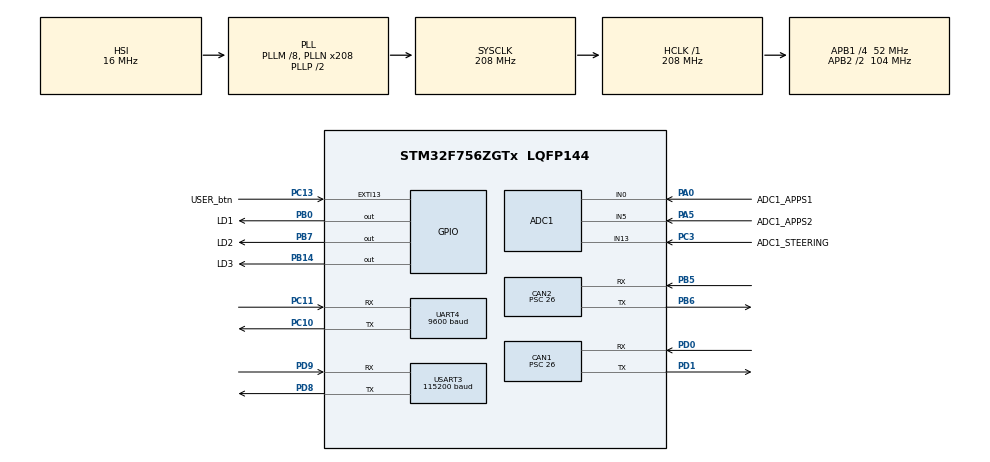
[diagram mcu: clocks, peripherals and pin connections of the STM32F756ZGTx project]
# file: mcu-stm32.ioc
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ADC1.Channel-10\#ChannelRegularConversion=ADC_CHANNEL_5
ADC1.Channel-11\#ChannelRegularConversion=ADC_CHANNEL_13
ADC1.Channel-9\#ChannelRegularConversion=ADC_CHANNEL_0
ADC1.ClockPrescaler=ADC_CLOCK_SYNC_PCLK_DIV8
ADC1.ContinuousConvMode=ENABLE
ADC1.DMAContinuousRequests=ENABLE
ADC1.EOCSelection=ADC_EOC_SINGLE_CONV
ADC1.NbrOfConversion=3
ADC1.NbrOfConversionFlag=1
ADC1.Rank-10\#ChannelRegularConversion=2
ADC1.Rank-11\#ChannelRegularConversion=3
ADC1.Rank-9\#ChannelRegularConversion=1
ADC1.SamplingTime-10\#ChannelRegularConversion=ADC_SAMPLETIME_480CYCLES
ADC1.SamplingTime-11\#ChannelRegularConversion=ADC_SAMPLETIME_480CYCLES
ADC1.SamplingTime-9\#ChannelRegularConversion=ADC_SAMPLETIME_480CYCLES
ADC1.ScanConvMode=ADC_SCAN_ENABLE
ADC1.master=1
CAN1.ABOM=ENABLE
CAN1.BS1=CAN_BS1_2TQ
CAN1.CalculateBaudRate=500000
CAN1.CalculateTimeBit=2000
CAN1.CalculateTimeQuantum=500.0
CAN1.NART=ENABLE
CAN1.Prescaler=26
CAN1.SJW=CAN_SJW_4TQ
CAN1.TXFP=ENABLE
CAN2.ABOM=ENABLE
CAN2.BS1=CAN_BS1_2TQ
CAN2.CalculateBaudRate=500000
CAN2.CalculateTimeBit=2000
CAN2.CalculateTimeQuantum=500.0
CAN2.NART=DISABLE
CAN2.Prescaler=26
CAN2.SJW=CAN_SJW_2TQ
CAN2.TXFP=ENABLE
Dma.ADC1.0.Direction=DMA_PERIPH_TO_MEMORY
Dma.ADC1.0.FIFOMode=DMA_FIFOMODE_DISABLE
Dma.ADC1.0.Instance=DMA2_Stream0
Dma.ADC1.0.MemDataAlignment=DMA_MDATAALIGN_HALFWORD
Dma.ADC1.0.MemInc=DMA_MINC_ENABLE
Dma.ADC1.0.Mode=DMA_CIRCULAR
Dma.ADC1.0.PeriphDataAlignment=DMA_PDATAALIGN_HALFWORD
Dma.ADC1.0.PeriphInc=DMA_PINC_DISABLE
Dma.ADC1.0.Priority=DMA_PRIORITY_HIGH
Dma.Request0=ADC1
Dma.Request1=USART3_TX
Dma.Request2=UART4_TX
Dma.UART4_TX.2.Direction=DMA_MEMORY_TO_PERIPH
Dma.UART4_TX.2.FIFOMode=DMA_FIFOMODE_DISABLE
Dma.UART4_TX.2.Instance=DMA1_Stream4
Dma.UART4_TX.2.MemDataAlignment=DMA_MDATAALIGN_BYTE
Dma.UART4_TX.2.MemInc=DMA_MINC_ENABLE
Dma.UART4_TX.2.Mode=DMA_NORMAL
Dma.UART4_TX.2.PeriphDataAlignment=DMA_PDATAALIGN_BYTE
Dma.UART4_TX.2.PeriphInc=DMA_PINC_DISABLE
Dma.UART4_TX.2.Priority=DMA_PRIORITY_LOW
Dma.USART3_TX.1.Direction=DMA_MEMORY_TO_PERIPH
Dma.USART3_TX.1.FIFOMode=DMA_FIFOMODE_DISABLE
Dma.USART3_TX.1.Instance=DMA1_Stream3
Dma.USART3_TX.1.MemDataAlignment=DMA_MDATAALIGN_BYTE
Dma.USART3_TX.1.MemInc=DMA_MINC_ENABLE
Dma.USART3_TX.1.Mode=DMA_NORMAL
Dma.USART3_TX.1.PeriphDataAlignment=DMA_PDATAALIGN_BYTE
Dma.USART3_TX.1.PeriphInc=DMA_PINC_DISABLE
Dma.USART3_TX.1.Priority=DMA_PRIORITY_LOW
FREERTOS.INCLUDE_uxTaskGetStackHighWaterMark2=1
FREERTOS.INCLUDE_xTaskGetCurrentTaskHandle=1
FREERTOS.Mutexes01=mutex_APPS,Dynamic,NULL,Available;mutex_SAS,Dynamic,NULL,Available;mutex_INVERTER_L,Dynamic,NULL,Available;mutex_INVERTER_R,Dynamic,NULL,Available;mutex_CAN1,Dynamic,NULL,Available;mutex_UART3,Dynamic,NULL,Available;mutex_CAN2,Dynamic,NULL,Available;mutex_UART4,Dynamic,NULL,Available
FREERTOS.Tasks01=DataLogger,8,1024,StartDataLogger,Default,NULL,Dynamic,NULL,NULL;MotorsManager,32,2048,StartMotorsManager,Default,NULL,Dynamic,NULL,NULL;DataManager,40,512,StartDataManager,Default,NULL,Dynamic,NULL,NULL
FREERTOS.configCHECK_FOR_STACK_OVERFLOW=2
FREERTOS.configENABLE_FPU=1
FREERTOS.configMINIMAL_STACK_SIZE=128
FREERTOS.configTIMER_TASK_PRIORITY=5
FREERTOS.configTOTAL_HEAP_SIZE=49152
FREERTOS.configUSE_MALLOC_FAILED_HOOK=1
FREERTOS.configUSE_NEWLIB_REENTRANT=1
IWDG.Prescaler=IWDG_PRESCALER_256
Mcu.Family=STM32F7
Mcu.Name=STM32F756ZGTx
Mcu.Package=LQFP144
NVIC.ADC_IRQn=true\:6\:0\:true\:false\:true\:true\:true\:true\:true
NVIC.CAN1_RX0_IRQn=true\:5\:0\:false\:false\:true\:true\:true\:true\:true
NVIC.CAN1_SCE_IRQn=true\:5\:0\:false\:false\:true\:true\:true\:true\:true
NVIC.CAN2_RX1_IRQn=true\:5\:0\:false\:false\:true\:true\:true\:true\:true
NVIC.DMA1_Stream3_IRQn=true\:5\:0\:false\:false\:true\:true\:false\:true\:true
NVIC.DMA1_Stream4_IRQn=true\:5\:0\:false\:false\:true\:true\:false\:true\:true
NVIC.DMA2_Stream0_IRQn=true\:5\:0\:false\:false\:true\:true\:false\:true\:true
NVIC.EXTI15_10_IRQn=true\:5\:0\:false\:false\:true\:true\:true\:true\:true
NVIC.PriorityGroup=NVIC_PRIORITYGROUP_4
NVIC.TIM7_IRQn=true\:15\:0\:false\:false\:true\:false\:false\:true\:true
NVIC.TimeBase=TIM7_IRQn
NVIC.TimeBaseIP=TIM7
NVIC.UART4_IRQn=true\:5\:0\:false\:false\:true\:true\:true\:true\:true
NVIC.USART3_IRQn=true\:10\:0\:true\:false\:true\:true\:true\:true\:true
PA0/WKUP.GPIO_Label=ADC1_APPS1
PA0/WKUP.Signal=ADCx_IN0
PA13.Mode=Serial_Wire
PA13.Signal=SYS_JTMS-SWDIO
PA14.Mode=Serial_Wire
PA14.Signal=SYS_JTCK-SWCLK
PA5.GPIO_Label=ADC1_APPS2
PA5.Signal=ADCx_IN5
PB0.GPIO_Label=LD1
PB0.Signal=GPIO_Output
PB14.GPIO_Label=LD3
PB14.Signal=GPIO_Output
PB5.Mode=CAN_Activate
PB5.Signal=CAN2_RX
PB6.Mode=CAN_Activate
PB6.Signal=CAN2_TX
PB7.GPIO_Label=LD2
PB7.Signal=GPIO_Output
PC10.Mode=Asynchronous
PC10.Signal=UART4_TX
PC11.Mode=Asynchronous
PC11.Signal=UART4_RX
PC13.GPIO_Label=USER_btn
PC13.Signal=GPXTI13
PC3.GPIO_Label=ADC1_STEERING
PC3.Signal=ADCx_IN13
PD0.Mode=CAN_Activate
PD0.Signal=CAN1_RX
PD1.Mode=CAN_Activate
PD1.Signal=CAN1_TX
PD8.Mode=Asynchronous
PD8.Signal=USART3_TX
PD9.Mode=Asynchronous
PD9.Signal=USART3_RX
ProjectManager.HeapSize=0x200
ProjectManager.StackSize=0x400
ProjectManager.TargetToolchain=STM32CubeIDE
RCC.48MHZClocksFreq_Value=24000000
RCC.AHBFreq_Value=208000000
RCC.APB1CLKDivider=RCC_HCLK_DIV4
RCC.APB1Freq_Value=52000000
RCC.APB1TimFreq_Value=104000000
RCC.APB2CLKDivider=RCC_HCLK_DIV2
RCC.APB2Freq_Value=104000000
RCC.APB2TimFreq_Value=208000000
RCC.CortexFreq_Value=208000000
RCC.HCLKFreq_Value=208000000
RCC.HSE_VALUE=8000000
RCC.HSI_VALUE=16000000
RCC.LSE_VALUE=32768
RCC.PLLM=8
RCC.PLLMUL=RCC_PLL_MUL9
RCC.PLLN=208
RCC.PLLQ=3
RCC.PRESCALERUSB=RCC_USBCLKSOURCE_PLL_DIV1_5
RCC.SYSCLKFreq_VALUE=208000000
RCC.SYSCLKSource=RCC_SYSCLKSOURCE_PLLCLK
RCC.SYSCLKSourceVirtual=RCC_SYSCLKSOURCE_PLLCLK
RCC.UART5CLockSelection=RCC_UART5CLKSOURCE_SYSCLK
RCC.USART6CLockSelection=RCC_USART6CLKSOURCE_SYSCLK
RCC.USBFreq_Value=138666666.66666666
RCC.VCOOutputFreq_Value=416000000
SH.ADCx_IN0.0=ADC1_IN0,IN0
SH.ADCx_IN13.0=ADC1_IN13,IN13
SH.ADCx_IN5.0=ADC1_IN5,IN5
UART4.BaudRate=9600
USART3.BaudRate=115200
USART3.VirtualMode-Asynchronous=VM_ASYNC
VP_FREERTOS_VS_CMSIS_V2.Mode=CMSIS_V2
VP_IWDG_VS_IWDG.Mode=IWDG_Activate
VP_SYS_VS_tim7.Mode=TIM7
board=NUCLEO-F756ZG

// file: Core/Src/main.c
/* USER CODE BEGIN Header */
/**
  ******************************************************************************
  * @file           : main.c
  * @brief          : Main program body
  ******************************************************************************
  * @attention
  *
  * Copyright (c) 2025 STMicroelectronics.
  * All rights reserved.
  *
  * This software is licensed under terms that can be found in the LICENSE file
  * in the root directory of this software component.
  * If no LICENSE file comes with this software, it is provided AS-IS.
  *
  ******************************************************************************
  */
/* USER CODE END Header */
#include "main.h"
#include "cmsis_os.h"

/* USER CODE BEGIN Includes */
#include "Config.h"
#include "Safety/watchdog.h"
#include "FreeRTOS.h"
#include "Can.h"
#include "Serial.h"
#include "Drive/Inverter.h"
#include "Sensors/ADC_Manager.h"
#include "Tasks/data_logger.h"
#include "Tasks/motors_manager.h"
#include "Tasks/data_manager.h"
#include "Safety/device_state.h"
#include "task.h"
/* USER CODE END Includes */

ADC_HandleTypeDef hadc1;
DMA_HandleTypeDef hdma_adc1;

CAN_HandleTypeDef hcan1;
CAN_HandleTypeDef hcan2;

IWDG_HandleTypeDef hiwdg;

UART_HandleTypeDef huart4;
UART_HandleTypeDef huart3;
DMA_HandleTypeDef hdma_uart4_tx;
DMA_HandleTypeDef hdma_usart3_tx;

/* Definitions for DataLogger */
osThreadId_t DataLoggerHandle;
const osThreadAttr_t DataLogger_attributes = {
  .name = "DataLogger",
  .stack_size = 1024 * 4,
  .priority = (osPriority_t) osPriorityLow,
};
/* Definitions for MotorsManager */
osThreadId_t MotorsManagerHandle;
const osThreadAttr_t MotorsManager_attributes = {
  .name = "MotorsManager",
  .stack_size = 2048 * 4,
  .priority = (osPriority_t) osPriorityAboveNormal,
};
/* Definitions for DataManager */
osThreadId_t DataManagerHandle;
const osThreadAttr_t DataManager_attributes = {
  .name = "DataManager",
  .stack_size = 512 * 4,
  .priority = (osPriority_t) osPriorityHigh,
};
/* Definitions for mutex_APPS */
osMutexId_t mutex_APPSHandle;
const osMutexAttr_t mutex_APPS_attributes = {
  .name = "mutex_APPS"
};
/* Definitions for mutex_SAS */
osMutexId_t mutex_SASHandle;
const osMutexAttr_t mutex_SAS_attributes = {
  .name = "mutex_SAS"
};
/* Definitions for mutex_INVERTER_L */
osMutexId_t mutex_INVERTER_LHandle;
const osMutexAttr_t mutex_INVERTER_L_attributes = {
  .name = "mutex_INVERTER_L"
};
/* Definitions for mutex_INVERTER_R */
osMutexId_t mutex_INVERTER_RHandle;
const osMutexAttr_t mutex_INVERTER_R_attributes = {
  .name = "mutex_INVERTER_R"
};
/* Definitions for mutex_CAN1 */
osMutexId_t mutex_CAN1Handle;
const osMutexAttr_t mutex_CAN1_attributes = {
  .name = "mutex_CAN1"
};
/* Definitions for mutex_UART3 */
osMutexId_t mutex_UART3Handle;
const osMutexAttr_t mutex_UART3_attributes = {
  .name = "mutex_UART3"
};
/* Definitions for mutex_CAN2 */
osMutexId_t mutex_CAN2Handle;
const osMutexAttr_t mutex_CAN2_attributes = {
  .name = "mutex_CAN2"
};
/* Definitions for mutex_UART4 */
osMutexId_t mutex_UART4Handle;
const osMutexAttr_t mutex_UART4_attributes = {
  .name = "mutex_UART4"
};

void SystemClock_Config(void);
static void MX_GPIO_Init(void);
static void MX_DMA_Init(void);
static void MX_CAN1_Init(void);
static void MX_ADC1_Init(void);
static void MX_USART3_UART_Init(void);
static void MX_CAN2_Init(void);
static void MX_IWDG_Init(void);
static void MX_UART4_Init(void);
void StartDataLogger(void *argument);
void StartMotorsManager(void *argument);
void StartDataManager(void *argument);

/* USER CODE BEGIN PFP */
void MX_FREERTOS_Init(void);

/* USER CODE END PFP */

int main(void)
{

  /* MCU Configuration--------------------------------------------------------*/

  /* Reset of all peripherals, Initializes the Flash interface and the Systick. */
  HAL_Init();

  /* Configure the system clock */
  SystemClock_Config();

  /* Initialize all configured peripherals */
  MX_GPIO_Init();
  MX_DMA_Init();
  MX_CAN1_Init();
  MX_ADC1_Init();
  MX_USART3_UART_Init();
  MX_CAN2_Init();
  MX_IWDG_Init();
  MX_UART4_Init();
  /* USER CODE BEGIN 2 */

  DeviceState_Set(DEVICE_STATE_INIT);

  /* Freeze Independent Watchdog (IWDG) while debugging:
   * When the debugger halts the CPU, the IWDG would normally continue
   * counting and eventually reset the MCU. Calling this macro freezes
   * the IWDG counter while the core is halted by the debugger. It has
   * no effect when no debugger is connected.
   */
  __HAL_DBGMCU_FREEZE_IWDG();

  /* Ensure the IWDG counter is refreshed immediately after initialization
   * to give the rest of the system time to complete startup without
   * triggering an unwanted reset. This is a one-time refresh; periodic
   * refreshes are handled by the safety monitor task.
   */
  Watchdog_Refresh();

  Inverters_Init();
  DataReadings_Init();
  Watchdog_Refresh();
  //SchedulerInitFct();
  /* USER CODE END 2 */

  /* Init scheduler */
  osKernelInitialize();
  /* Create the mutex(es) */
  /* creation of mutex_APPS */
  mutex_APPSHandle = osMutexNew(&mutex_APPS_attributes);

  /* creation of mutex_SAS */
  mutex_SASHandle = osMutexNew(&mutex_SAS_attributes);

  /* creation of mutex_INVERTER_L */
  mutex_INVERTER_LHandle = osMutexNew(&mutex_INVERTER_L_attributes);

  /* creation of mutex_INVERTER_R */
  mutex_INVERTER_RHandle = osMutexNew(&mutex_INVERTER_R_attributes);

  /* creation of mutex_CAN1 */
  mutex_CAN1Handle = osMutexNew(&mutex_CAN1_attributes);

  /* creation of mutex_UART3 */
  mutex_UART3Handle = osMutexNew(&mutex_UART3_attributes);

  /* creation of mutex_CAN2 */
  mutex_CAN2Handle = osMutexNew(&mutex_CAN2_attributes);

  /* creation of mutex_UART4 */
  mutex_UART4Handle = osMutexNew(&mutex_UART4_attributes);

  /* USER CODE BEGIN RTOS_QUEUES */
  /* CAN RX queues must be created after osKernelInitialize() and before CAN IRQ notifications. */
  CAN_ProcessQueue_Init();      /* CAN1 RX queue */
  CAN_Car_ProcessQueue_Init();  /* CAN2 RX queue */

  if (!CAN_QueuesReady())
  {
    Error_Handler();
  }

  /* Defer CAN peripheral start to task context (after osKernelStart). */
  /* USER CODE END RTOS_QUEUES */

  /* Create the thread(s) */
  /* creation of DataLogger */
  DataLoggerHandle = osThreadNew(StartDataLogger, NULL, &DataLogger_attributes);

  /* creation of MotorsManager */
  MotorsManagerHandle = osThreadNew(StartMotorsManager, NULL, &MotorsManager_attributes);

  /* creation of DataManager */
  DataManagerHandle = osThreadNew(StartDataManager, NULL, &DataManager_attributes);

  /* Start scheduler */
  osKernelStart();

  /* We should never get here as control is now taken by the scheduler */

  /* Infinite loop */
  /* USER CODE BEGIN WHILE */
  while (1)
  {
	  //SchedulerMgmFct();
    /* USER CODE END WHILE */

  }
}

void SystemClock_Config(void)
{
  RCC_OscInitTypeDef RCC_OscInitStruct = {0};
  RCC_ClkInitTypeDef RCC_ClkInitStruct = {0};

  /** Configure the main internal regulator output voltage
  */
  __HAL_RCC_PWR_CLK_ENABLE();
  __HAL_PWR_VOLTAGESCALING_CONFIG(PWR_REGULATOR_VOLTAGE_SCALE1);

  /** Initializes the RCC Oscillators according to the specified parameters
  * in the RCC_OscInitTypeDef structure.
  */
  RCC_OscInitStruct.OscillatorType = RCC_OSCILLATORTYPE_HSI|RCC_OSCILLATORTYPE_LSI;
  RCC_OscInitStruct.HSIState = RCC_HSI_ON;
  RCC_OscInitStruct.HSICalibrationValue = RCC_HSICALIBRATION_DEFAULT;
  RCC_OscInitStruct.LSIState = RCC_LSI_ON;
  RCC_OscInitStruct.PLL.PLLState = RCC_PLL_ON;
  RCC_OscInitStruct.PLL.PLLSource = RCC_PLLSOURCE_HSI;
  RCC_OscInitStruct.PLL.PLLM = 8;
  RCC_OscInitStruct.PLL.PLLN = 208;
  RCC_OscInitStruct.PLL.PLLP = RCC_PLLP_DIV2;
  RCC_OscInitStruct.PLL.PLLQ = 3;
  if (HAL_RCC_OscConfig(&RCC_OscInitStruct) != HAL_OK)
  {
    Error_Handler();
  }

  /** Activate the Over-Drive mode
  */
  if (HAL_PWREx_EnableOverDrive() != HAL_OK)
  {
    Error_Handler();
  }

  /** Initializes the CPU, AHB and APB buses clocks
  */
  RCC_ClkInitStruct.ClockType = RCC_CLOCKTYPE_HCLK|RCC_CLOCKTYPE_SYSCLK
                              |RCC_CLOCKTYPE_PCLK1|RCC_CLOCKTYPE_PCLK2;
  RCC_ClkInitStruct.SYSCLKSource = RCC_SYSCLKSOURCE_PLLCLK;
  RCC_ClkInitStruct.AHBCLKDivider = RCC_SYSCLK_DIV1;
  RCC_ClkInitStruct.APB1CLKDivider = RCC_HCLK_DIV4;
  RCC_ClkInitStruct.APB2CLKDivider = RCC_HCLK_DIV2;

  if (HAL_RCC_ClockConfig(&RCC_ClkInitStruct, FLASH_LATENCY_6) != HAL_OK)
  {
    Error_Handler();
  }
}

static void MX_ADC1_Init(void)
{

  ADC_ChannelConfTypeDef sConfig = {0};

  /* USER CODE BEGIN ADC1_Init 1 */
  /* Override ADC configuration based on Config.h build mode */
  /* This section is protected from CubeMX regeneration */

  /* USER CODE END ADC1_Init 1 */

  /** Configure the global features of the ADC (Clock, Resolution, Data Alignment and number of conversion)
  */
  hadc1.Instance = ADC1;
  hadc1.Init.ClockPrescaler = ADC_CLOCK_SYNC_PCLK_DIV8;
  hadc1.Init.Resolution = ADC_RESOLUTION_12B;
  hadc1.Init.ScanConvMode = ADC_SCAN_ENABLE;
  hadc1.Init.ContinuousConvMode = ENABLE;
  hadc1.Init.DiscontinuousConvMode = DISABLE;
  hadc1.Init.ExternalTrigConvEdge = ADC_EXTERNALTRIGCONVEDGE_NONE;
  hadc1.Init.ExternalTrigConv = ADC_SOFTWARE_START;
  hadc1.Init.DataAlign = ADC_DATAALIGN_RIGHT;
  hadc1.Init.NbrOfConversion = 3;
  hadc1.Init.DMAContinuousRequests = ENABLE;
  hadc1.Init.EOCSelection = ADC_EOC_SINGLE_CONV;
  if (HAL_ADC_Init(&hadc1) != HAL_OK)
  {
    Error_Handler();
  }

  /** Configure for the selected ADC regular channel its corresponding rank in the sequencer and its sample time.
  */
  sConfig.Channel = ADC_CHANNEL_0;
  sConfig.Rank = ADC_REGULAR_RANK_1;
  sConfig.SamplingTime = ADC_SAMPLETIME_480CYCLES;
  if (HAL_ADC_ConfigChannel(&hadc1, &sConfig) != HAL_OK)
  {
    Error_Handler();
  }

  /** Configure for the selected ADC regular channel its corresponding rank in the sequencer and its sample time.
  */
  sConfig.Channel = ADC_CHANNEL_5;
  sConfig.Rank = ADC_REGULAR_RANK_2;
  if (HAL_ADC_ConfigChannel(&hadc1, &sConfig) != HAL_OK)
  {
    Error_Handler();
  }

  /** Configure for the selected ADC regular channel its corresponding rank in the sequencer and its sample time.
  */
  sConfig.Channel = ADC_CHANNEL_13;
  sConfig.Rank = ADC_REGULAR_RANK_3;
  if (HAL_ADC_ConfigChannel(&hadc1, &sConfig) != HAL_OK)
  {
    Error_Handler();
  }
  /* USER CODE BEGIN ADC1_Init 2 */
  /* Override ADC configuration for different build modes */
  /* This part of code is protected from CubeMX regeneration */

  #if defined(TEST_MODE_SINGLE_ADC)
    hadc1.Init.ScanConvMode = ADC_SCAN_DISABLE;
    hadc1.Init.NbrOfConversion = 1;
    if (HAL_ADC_Init(&hadc1) != HAL_OK) {
      Error_Handler();
    }

    /* Reconfigure only CH0 */
    ADC_ChannelConfTypeDef sConfig_override = {0};
    sConfig_override.Channel = ADC_CHANNEL_0;
    sConfig_override.Rank = ADC_REGULAR_RANK_1;
    sConfig_override.SamplingTime = ADC_SAMPLETIME_480CYCLES;
    if (HAL_ADC_ConfigChannel(&hadc1, &sConfig_override) != HAL_OK) {
      Error_Handler();
    }
  #endif
  /* In TEST_MODE_FULL and PRODUCTION_MODE, use CubeMX configuration (3 channels) */

  /* USER CODE END ADC1_Init 2 */

}

static void MX_CAN1_Init(void)
{

  /* USER CODE BEGIN CAN1_Init 1 */
  /* Override CAN1 configuration based on Config.h */
  /* This section is protected from CubeMX regeneration */

  /* USER CODE END CAN1_Init 1 */
  hcan1.Instance = CAN1;
  hcan1.Init.Prescaler = 26;
  hcan1.Init.Mode = CAN_MODE_NORMAL;
  hcan1.Init.SyncJumpWidth = CAN_SJW_4TQ;
  hcan1.Init.TimeSeg1 = CAN_BS1_2TQ;
  hcan1.Init.TimeSeg2 = CAN_BS2_1TQ;
  hcan1.Init.TimeTriggeredMode = DISABLE;
  hcan1.Init.AutoBusOff = ENABLE;
  hcan1.Init.AutoWakeUp = DISABLE;
  hcan1.Init.AutoRetransmission = ENABLE;
  hcan1.Init.ReceiveFifoLocked = DISABLE;
  hcan1.Init.TransmitFifoPriority = ENABLE;
  if (HAL_CAN_Init(&hcan1) != HAL_OK)
  {
    Error_Handler();
  }

}

static void MX_CAN2_Init(void)
{

  /* USER CODE BEGIN CAN2_Init 1 */
  /* Override CAN2 configuration based on Config.h */
  /* This section is protected from CubeMX regeneration */

  /* USER CODE END CAN2_Init 1 */
  hcan2.Instance = CAN2;
  hcan2.Init.Prescaler = 26;
  hcan2.Init.Mode = CAN_MODE_NORMAL;
  hcan2.Init.SyncJumpWidth = CAN_SJW_2TQ;
  hcan2.Init.TimeSeg1 = CAN_BS1_2TQ;
  hcan2.Init.TimeSeg2 = CAN_BS2_1TQ;
  hcan2.Init.TimeTriggeredMode = DISABLE;
  hcan2.Init.AutoBusOff = ENABLE;
  hcan2.Init.AutoWakeUp = DISABLE;
  hcan2.Init.AutoRetransmission = DISABLE;
  hcan2.Init.ReceiveFifoLocked = DISABLE;
  hcan2.Init.TransmitFifoPriority = ENABLE;
  if (HAL_CAN_Init(&hcan2) != HAL_OK)
  {
    Error_Handler();
  }
  /* USER CODE BEGIN CAN2_Init 2 */
  /* CAN2 configuration from CubeMX is correct (AutoRetransmission = DISABLE) */
  /* This matches CAN2_AUTO_RETRANSMISSION in Config.h */
  /* No override needed - CubeMX config already correct */

  /* USER CODE END CAN2_Init 2 */

}

static void MX_IWDG_Init(void)
{

  hiwdg.Instance = IWDG;
  hiwdg.Init.Prescaler = IWDG_PRESCALER_256;
  hiwdg.Init.Window = 4095;
  hiwdg.Init.Reload = 4095;
  if (HAL_IWDG_Init(&hiwdg) != HAL_OK)
  {
    Error_Handler();
  }

}

static void MX_UART4_Init(void)
{

  huart4.Instance = UART4;
  huart4.Init.BaudRate = 115200;
  huart4.Init.WordLength = UART_WORDLENGTH_8B;
  huart4.Init.StopBits = UART_STOPBITS_1;
  huart4.Init.Parity = UART_PARITY_NONE;
  huart4.Init.Mode = UART_MODE_TX_RX;
  huart4.Init.HwFlowCtl = UART_HWCONTROL_NONE;
  huart4.Init.OverSampling = UART_OVERSAMPLING_16;
  huart4.Init.OneBitSampling = UART_ONE_BIT_SAMPLE_DISABLE;
  huart4.AdvancedInit.AdvFeatureInit = UART_ADVFEATURE_NO_INIT;
  if (HAL_UART_Init(&huart4) != HAL_OK)
  {
    Error_Handler();
  }

}

static void MX_USART3_UART_Init(void)
{

  huart3.Instance = USART3;
  huart3.Init.BaudRate = 115200;
  huart3.Init.WordLength = UART_WORDLENGTH_8B;
  huart3.Init.StopBits = UART_STOPBITS_1;
  huart3.Init.Parity = UART_PARITY_NONE;
  huart3.Init.Mode = UART_MODE_TX_RX;
  huart3.Init.HwFlowCtl = UART_HWCONTROL_NONE;
  huart3.Init.OverSampling = UART_OVERSAMPLING_16;
  huart3.Init.OneBitSampling = UART_ONE_BIT_SAMPLE_DISABLE;
  huart3.AdvancedInit.AdvFeatureInit = UART_ADVFEATURE_NO_INIT;
  if (HAL_UART_Init(&huart3) != HAL_OK)
  {
    Error_Handler();
  }

}

static void MX_DMA_Init(void)
{

  /* DMA controller clock enable */
  __HAL_RCC_DMA2_CLK_ENABLE();
  __HAL_RCC_DMA1_CLK_ENABLE();

  /* DMA interrupt init */
  /* DMA1_Stream3_IRQn interrupt configuration */
  HAL_NVIC_SetPriority(DMA1_Stream3_IRQn, 5, 0);
  HAL_NVIC_EnableIRQ(DMA1_Stream3_IRQn);
  /* DMA1_Stream4_IRQn interrupt configuration */
  HAL_NVIC_SetPriority(DMA1_Stream4_IRQn, 5, 0);
  HAL_NVIC_EnableIRQ(DMA1_Stream4_IRQn);
  /* DMA2_Stream0_IRQn interrupt configuration */
  HAL_NVIC_SetPriority(DMA2_Stream0_IRQn, 5, 0);
  HAL_NVIC_EnableIRQ(DMA2_Stream0_IRQn);

}

static void MX_GPIO_Init(void)
{
  GPIO_InitTypeDef GPIO_InitStruct = {0};

  /* GPIO Ports Clock Enable */
  __HAL_RCC_GPIOC_CLK_ENABLE();
  __HAL_RCC_GPIOA_CLK_ENABLE();
  __HAL_RCC_GPIOB_CLK_ENABLE();
  __HAL_RCC_GPIOD_CLK_ENABLE();

  /*Configure GPIO pin Output Level */
  HAL_GPIO_WritePin(GPIOB, LD1_Pin|LD3_Pin|LD2_Pin, GPIO_PIN_RESET);

  /*Configure GPIO pin : USER_btn_Pin */
  GPIO_InitStruct.Pin = USER_btn_Pin;
  GPIO_InitStruct.Mode = GPIO_MODE_IT_RISING;
  GPIO_InitStruct.Pull = GPIO_NOPULL;
  HAL_GPIO_Init(USER_btn_GPIO_Port, &GPIO_InitStruct);

  /*Configure GPIO pins : LD1_Pin LD3_Pin LD2_Pin */
  GPIO_InitStruct.Pin = LD1_Pin|LD3_Pin|LD2_Pin;
  GPIO_InitStruct.Mode = GPIO_MODE_OUTPUT_PP;
  GPIO_InitStruct.Pull = GPIO_NOPULL;
  GPIO_InitStruct.Speed = GPIO_SPEED_FREQ_LOW;
  HAL_GPIO_Init(GPIOB, &GPIO_InitStruct);

  /* EXTI interrupt init*/
  HAL_NVIC_SetPriority(EXTI15_10_IRQn, 5, 0);
  HAL_NVIC_EnableIRQ(EXTI15_10_IRQn);

}

/* USER CODE BEGIN 4 */
/**
 * @brief CAN Interrupt - Message reception
 * @param hcan CAN handle that generated interrupt
 * @return void
 */
void HAL_CAN_RxFifo0MsgPendingCallback(CAN_HandleTypeDef *hcan){
    // CAN1 only - Motor inverters
    if (hcan->Instance == CAN1) {
        CAN_Inverter_ProcessRxMessages(hcan);
    }
}

void HAL_CAN_RxFifo1MsgPendingCallback(CAN_HandleTypeDef *hcan){
    // CAN2 only - Car data (IMU, BMS, ECU, DASH)
    if (hcan->Instance == CAN2) {
        CAN_Car_ProcessRxMessages(hcan);
    }
}

void HAL_ADC_ConvHalfCpltCallback(ADC_HandleTypeDef *hadc){

}

void HAL_ADC_ConvCpltCallback(ADC_HandleTypeDef *hadc){
    ADC_Manager_ConversionComplete(hadc);
}

void HAL_UART_TxCpltCallback(UART_HandleTypeDef *huart)
{
    if (huart == &huart4)
    {
        extern volatile uint8_t uart4_tx_busy;
        uart4_tx_busy = 0;
    }
    if (huart == &huart3)
    {
        extern volatile uint8_t uart3_tx_busy;
        uart3_tx_busy = 0;
    }
}

void HAL_UART_ErrorCallback(UART_HandleTypeDef *huart)
{
    if (huart == &huart4)
    {
        extern volatile uint8_t uart4_tx_busy;
        uart4_tx_busy = 0;
    }
    if (huart == &huart3)
    {
        extern volatile uint8_t uart3_tx_busy;
        uart3_tx_busy = 0;
    }
}

/* USER CODE END 4 */

void StartDataLogger(void *argument)
{
  /* USER CODE BEGIN 5 */
  DataLoggerTask();
  /* USER CODE END 5 */
}

void StartMotorsManager(void *argument)
{
  /* USER CODE BEGIN StartMotorsManager */
	MotorsManagerTask();
  /* USER CODE END StartMotorsManager */
}

void StartDataManager(void *argument)
{
  /* USER CODE BEGIN StartDataManager */
  static uint8_t s_can_started = 0U;

  if (s_can_started == 0U)
  {
    CAN_Inverter_Init(&hcan1);
    CAN_Car_Init(&hcan2);
    s_can_started = 1U;
  }

  DataManagerTask();
  /* USER CODE END StartDataManager */
}

void HAL_TIM_PeriodElapsedCallback(TIM_HandleTypeDef *htim)
{
  if (htim->Instance == TIM7)
  {
    HAL_IncTick();
  }
}

void Error_Handler(void)
{
  __disable_irq();
  while (1)
  {
  }
}

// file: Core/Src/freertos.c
/* USER CODE BEGIN Header */
/**
  ******************************************************************************
  * File Name          : freertos.c
  * Description        : Code for freertos applications
  ******************************************************************************
  * @attention
  *
  * Copyright (c) 2026 STMicroelectronics.
  * All rights reserved.
  *
  * This software is licensed under terms that can be found in the LICENSE file
  * in the root directory of this software component.
  * If no LICENSE file comes with this software, it is provided AS-IS.
  *
  ******************************************************************************
  */
/* USER CODE END Header */

#include "FreeRTOS.h"
#include "task.h"
#include "main.h"

/* Hook prototypes */
void vApplicationStackOverflowHook(xTaskHandle xTask, signed char *pcTaskName);
void vApplicationMallocFailedHook(void);

/* USER CODE BEGIN 4 */
void vApplicationStackOverflowHook(xTaskHandle xTask, signed char *pcTaskName)
{
   /* Run time stack overflow checking is performed if
   configCHECK_FOR_STACK_OVERFLOW is defined to 1 or 2. This hook function is
   called if a stack overflow is detected. */
   (void)xTask;
   (void)pcTaskName;
   /* Turn on LD3 (red LED, PB14 on Nucleo-144) and halt — visible diagnostic. */
   HAL_GPIO_WritePin(LD3_GPIO_Port, LD3_Pin, GPIO_PIN_SET);
   __disable_irq();
   while (1) {}
}
/* USER CODE END 4 */

/* USER CODE BEGIN 5 */
void vApplicationMallocFailedHook(void)
{
   /* vApplicationMallocFailedHook() will only be called if
   configUSE_MALLOC_FAILED_HOOK is set to 1 in FreeRTOSConfig.h. It is a hook
   function that will get called if a call to pvPortMalloc() fails.
   pvPortMalloc() is called internally by the kernel whenever a task, queue,
   timer or semaphore is created. It is also called by various parts of the
   demo application. If heap_1.c or heap_2.c are used, then the size of the
   heap available to pvPortMalloc() is defined by configTOTAL_HEAP_SIZE in
   FreeRTOSConfig.h, and the xPortGetFreeHeapSize() API function can be used
   to query the size of free heap space that remains (although it does not
   provide information on how the remaining heap might be fragmented). */
}
/* USER CODE END 5 */
